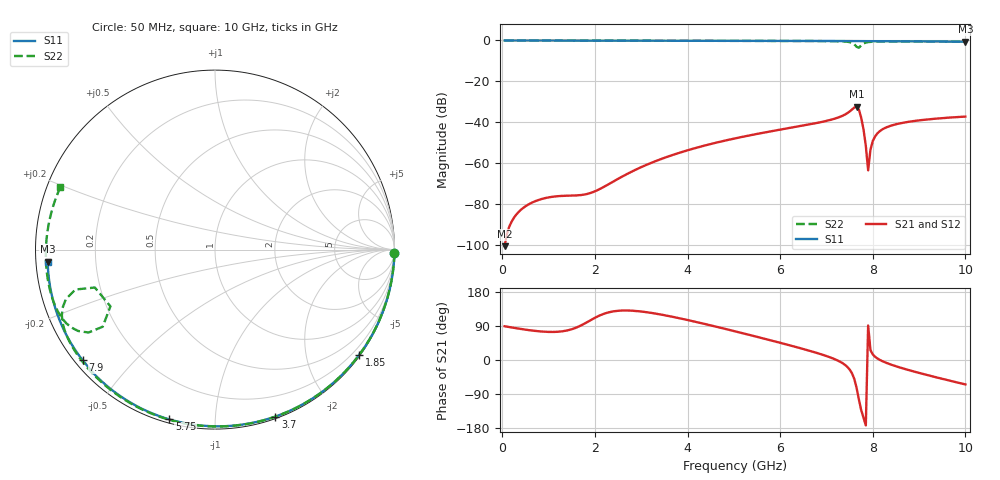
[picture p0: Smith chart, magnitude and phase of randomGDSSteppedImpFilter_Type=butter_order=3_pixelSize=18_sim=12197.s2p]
! freq	dB(S11)	phase(S11)	dB(S12)	phase(S12)
!  dB(S21)	phase(S21)	dB(S22)	phase(S22)
!S-par simulation data
#  GHz  S  DB  R 50
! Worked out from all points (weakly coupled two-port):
!   200 points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, 50 MHz to 10 GHz, reference 50 ohm
!   highest |S21| = -32.37 dB at 7.65 GHz (marker M1); lowest = -100.5 dB at 50 MHz (marker M2)
!   lowest |S11| = -0.6 dB at 10 GHz (marker M3), VSWR 29.59, Z = 1.69 - j1.81 ohm
!   |S11| at or under -10 dB: nowhere
!   |S22| runs from -3.6 to 0.0 dB; largest |S21 - S12| = 0
!   S11 on the Smith chart (normalised r, x): 50 MHz: open; 1.85 GHz: 0.03, -3.07; 3.7 GHz: 0.02, -1.43; 5.75 GHz: 0.02, -0.77; 7.9 GHz: 0.02, -0.36; 10 GHz: 0.03, -0.04
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0.05  -0.00 -1.0  -100.55 89.1  -100.55 89.1  -0.00 -1.1
0.55  -0.01 -10.9  -80.35 79.2  -80.35 79.2  -0.02 -12.4
1.05  -0.03 -20.6  -76.51 74.0  -76.51 74.0  -0.03 -23.6
1.75  -0.04 -34.1  -75.40 94.3  -75.40 94.3  -0.05 -38.9
1.85  -0.05 -36.0  -74.92 101.2  -74.92 101.2  -0.05 -41.1
3.4  -0.09 -64.7  -58.20 120.5  -58.20 120.5  -0.10 -73.6
3.7  -0.09 -70.1  -55.81 113.4  -55.81 113.4  -0.11 -79.6
5.05  -0.14 -93.4  -47.75 75.0  -47.75 75.0  -0.16 -106.0
5.75  -0.18 -105.1  -44.62 53.4  -44.62 53.4  -0.20 -119.4
6.7  -0.24 -120.6  -40.74 22.0  -40.74 22.0  -0.28 -137.8
7.45  -0.29 -132.8  -35.54 -18.1  -35.54 -18.1  -0.65 -156.8
7.55  -0.30 -134.4  -33.81 -34.8  -33.81 -34.8  -1.16 -161.7
7.65  -0.32 -136.1  -32.37 -73.2  -32.37 -73.2  -3.07 -162.5
7.7  -0.33 -136.9  -33.80 -104.3  -33.80 -104.3  -3.57 -151.5
7.8  -0.34 -138.5  -43.46 -152.6  -43.46 -152.6  -1.49 -146.7
7.85  -0.34 -139.3  -51.54 -172.5  -51.54 -172.5  -1.04 -149.2
7.9  -0.34 -140.1  -63.49 91.2  -63.49 91.2  -0.81 -151.6
7.95  -0.35 -140.9  -53.40 26.1  -53.40 26.1  -0.68 -153.6
8  -0.35 -141.7  -49.17 14.7  -49.17 14.7  -0.61 -155.4
8.15  -0.36 -144.2  -44.37 0.5  -44.37 0.5  -0.51 -159.9
8.35  -0.38 -147.5  -41.98 -10.2  -41.98 -10.2  -0.48 -164.8
10  -0.59 -175.8  -37.21 -64.4  -37.21 -64.4  -0.64 158.0
